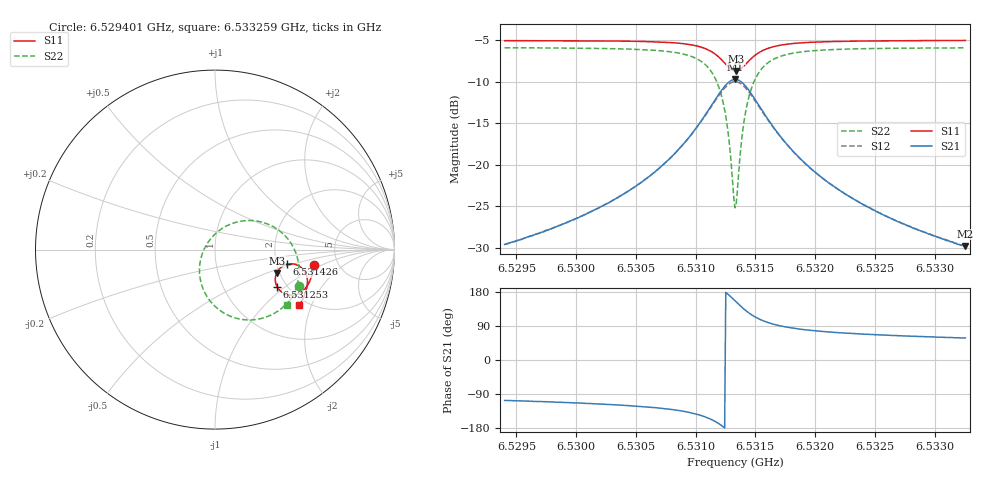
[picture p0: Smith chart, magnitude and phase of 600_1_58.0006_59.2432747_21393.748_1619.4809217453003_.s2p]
#  HZ  S  RI  R  50.00
! Rohde & Schwarz Vector Network Analyzer
! Rohde-Schwarz,ZNB20-2Port,1311601062101988,3.16
! Created: UTC 3/21/2024, 1:17:11 AM
! freq[Hz]  re:S11  im:S11  re:S21  im:S21  re:S12  im:S12  re:S22  im:S22
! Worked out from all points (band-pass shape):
!   401 points, 6.529401 GHz to 6.533259 GHz, reference 50 ohm
!   highest |S21| = -9.71 dB at 6.53133 GHz (marker M1); lowest = -29.8 dB at 6.533259 GHz (marker M2)
!   |S21| within 3 dB of the highest: 6.531139 GHz to 6.531524 GHz (385.2 kHz wide, 0.0059 % of centre)
!   lowest |S11| = -8.7 dB at 6.53134 GHz (marker M3), VSWR 2.16, Z = 96.6 - j29.1 ohm
!   |S11| at or under -10 dB: nowhere
!   |S22| runs from -25.2 to -5.9 dB; largest |S21 - S12| = 0.013
!   S11 on the Smith chart (normalised r, x): 6.529401 GHz: 3.32, -0.84; 6.531253 GHz: 1.78, -0.88; 6.531426 GHz: 2.28, -0.45; 6.533259 GHz: 1.83, -1.64
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6.5294014e9  0.5538 -0.087  -0.00946 -0.0317  -0.0101 -0.0316  0.4654 -0.2033
6.5300475e9  0.5413 -0.1413  -0.0199 -0.0448  -0.021 -0.0445  0.4306 -0.2633
6.5304043e9  0.5286 -0.1751  -0.0333 -0.0583  -0.0348 -0.0574  0.3953 -0.3051
6.5306936e9  0.51 -0.207  -0.0569 -0.0762  -0.0592 -0.0745  0.342 -0.3483
6.530925e9  0.4791 -0.2373  -0.1026 -0.0961  -0.1055 -0.0922  0.2503 -0.3857
6.5310889e9  0.4303 -0.2537  -0.1785 -0.0984  -0.1803 -0.0906  0.1127 -0.3808
6.5311853e9  0.3815 -0.2429  -0.2532 -0.0624  -0.2508 -0.0517  -0.00969 -0.3065
6.5312528e9  0.3465 -0.2079  -0.3028 0.00813  -0.2946 0.0183  -0.079 -0.1793
6.5312818e9  0.3378 -0.1842  -0.3125 0.0521  -0.3018 0.0601  -0.0864 -0.1053
6.5313203e9  0.3377 -0.1481  -0.3053 0.1161  -0.2929 0.1203  -0.0626 -0.00196
6.53133e9  0.3401 -0.1391  -0.2993 0.132  -0.287 0.1348  -0.0503 0.0223
6.5313396e9  0.3435 -0.1303  -0.292 0.1469  -0.2797 0.1488  -0.0354 0.0454
6.5313493e9  0.3477 -0.1221  -0.2831 0.1609  -0.2712 0.1618  -0.0188 0.0668
6.5313878e9  0.3717 -0.0955  -0.2374 0.2057  -0.2274 0.2032  0.0639 0.1317
6.5314264e9  0.4012 -0.0817  -0.1845 0.2284  -0.1772 0.2246  0.1549 0.1599
6.5314939e9  0.4477 -0.0825  -0.1037 0.2278  -0.1004 0.2242  0.2892 0.144
6.5315903e9  0.4874 -0.1066  -0.0359 0.1922  -0.0344 0.1902  0.3982 0.0685
6.531735e9  0.5099 -0.1447  0.00372 0.141  0.00513 0.1401  0.4558 -0.0339
6.531976e9  0.5148 -0.189  0.0198 0.0913  0.0209 0.091  0.4676 -0.136
6.5322653e9  0.5083 -0.2252  0.0215 0.0622  0.0226 0.0619  0.4555 -0.2027
6.5326221e9  0.4961 -0.2588  0.0201 0.0435  0.021 0.0433  0.4358 -0.253
6.5332585e9  0.4707 -0.3074  0.0171 0.0275  0.0177 0.027  0.4006 -0.311
